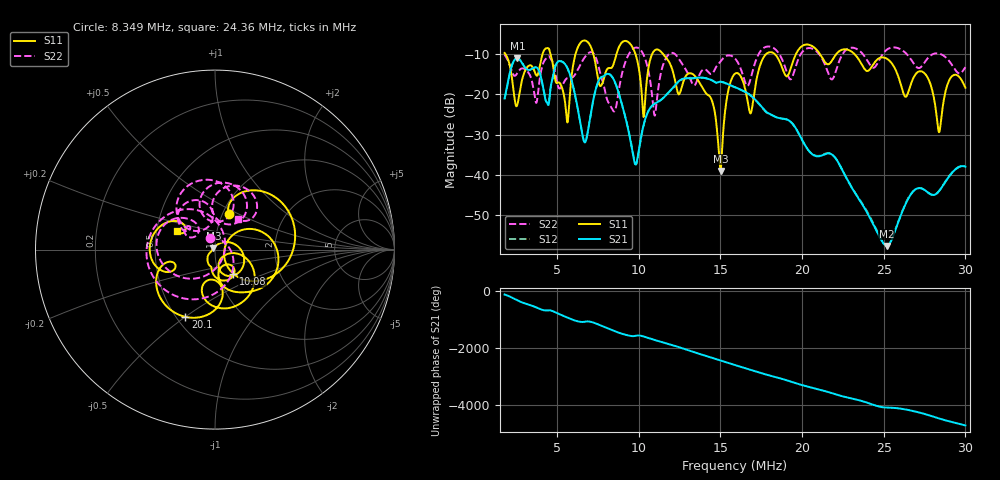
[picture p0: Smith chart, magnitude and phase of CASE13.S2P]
!Agilent Technologies,E5061B,MY49101568,A.02.00
!Date: Wed Mar 01 14:00:18 2023
!Data & Calibration Information:
!Freq	S11:SOLT2(OFF)	S21:SOLT2(OFF)	S12:SOLT2(OFF)	S22:SOLT2(OFF)
# Hz S dB R 50
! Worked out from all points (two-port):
!   1155 points, 1.8 MHz to 30 MHz, reference 50 ohm
!   highest |S21| = -11.00 dB at 2.582 MHz (marker M1); lowest = -57.7 dB at 25.19 MHz (marker M2)
!   |S21| within 3 dB of the highest: 2.158 MHz to 3.887 MHz (1.729 MHz wide, 57.2 % of centre); 4.832 MHz to 5.703 MHz (871.4 kHz wide, 16.5 % of centre)
!   lowest |S11| = -39.1 dB at 15.02 MHz (marker M3), VSWR 1.02, Z = 49.1 + j0.679 ohm
!   |S11| at or under -10 dB: 1.855 MHz to 4.121 MHz (2.266 MHz wide, 75.8 % of centre); 11.51 MHz to 17.8 MHz (6.292 MHz wide, 42.9 % of centre); 23.22 MHz to end of sweep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
!   |S22| runs from -25.3 to -8.1 dB; largest |S21 - S12| = 0.0049
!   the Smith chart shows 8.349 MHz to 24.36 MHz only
!   S11 on the Smith chart (normalised r, x): 8.349 MHz: 1.07, +0.45; 10.08 MHz: 1.18, -0.33; 20.1 MHz: 0.56, -0.50; 24.36 MHz: 0.64, +0.14
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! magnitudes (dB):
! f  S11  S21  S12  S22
! 1.8 MHz  -9.7  -21.0  -21.1  -10.1
! 2.582 MHz  -22.5  -11.0  -10.9  -14.7
! 3.731 MHz  -15.2  -13.2  -13.3  -22.1
! 4.415 MHz  -8.5  -22.1  -22.2  -10.9
! 5.637 MHz  -27.0  -13.4  -13.4  -16.0
! 6.516 MHz  -6.9  -29.1  -29.0  -12.0
! 8.349 MHz  -13.4  -15.5  -15.5  -23.4
! 10.08 MHz  -15.4  -32.0  -32.4  -8.8
! 11.21 MHz  -8.9  -21.8  -21.7  -18.3
! 14.38 MHz  -20.6  -16.3  -16.3  -14.9
! 15.02 MHz  -39.1  -16.8  -16.9  -11.8
! 15.9 MHz  -14.8  -18.2  -18.3  -11.1
! 16.85 MHz  -24.7  -20.2  -20.3  -16.1
! 17.73 MHz  -10.3  -24.0  -24.1  -8.3
! 20.1 MHz  -7.8  -32.0  -32.1  -9.1
! 20.62 MHz  -8.0  -34.9  -34.8  -8.6
! 24.36 MHz  -12.6  -52.2  -52.0  -13.4
! 25.19 MHz  -11.1  -57.7  -57.7  -8.9
! 25.31 MHz  -11.5  -57.4  -57.3  -8.6
! 27.58 MHz  -15.1  -44.0  -44.0  -11.6
! 28.39 MHz  -29.4  -44.0  -44.0  -9.9
! 30 MHz  -18.3  -37.9  -37.9  -13.2
